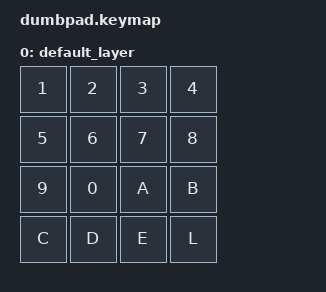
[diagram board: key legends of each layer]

/ {
    keymap {
        compatible = "zmk,keymap";

        default_layer {
            bindings = <
                &kp 1  &kp 2  &kp 3  &kp 4
                &kp 5  &kp 6  &kp 7  &kp 8
                &kp 9  &kp 0  &kp A  &kp B
                &kp C  &kp D  &kp E  &kp L
            >;
        };
    };
};
